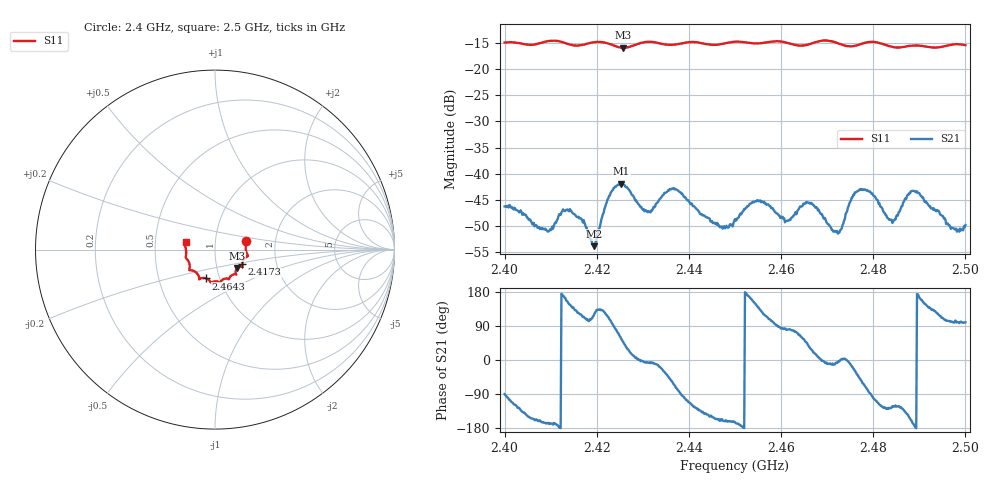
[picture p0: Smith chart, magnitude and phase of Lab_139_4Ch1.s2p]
# Hz S RI R 50
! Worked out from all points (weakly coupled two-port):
!   601 points, 2.4 GHz to 2.5 GHz, reference 50 ohm
!   highest |S21| = -41.89 dB at 2.4253 GHz (marker M1); lowest = -53.9 dB at 2.4193 GHz (marker M2)
!   lowest |S11| = -15.9 dB at 2.4257 GHz (marker M3), VSWR 1.38, Z = 62.5 - j13.2 ohm
!   |S11| at or under -10 dB: start of sweep to end of sweep
!   S12 and S22 are empty: the file has one direction only
!   S11 on the Smith chart (normalised r, x): 2.4 GHz: 1.41, +0.14; 2.4173 GHz: 1.34, -0.23; 2.4643 GHz: 0.86, -0.28; 2.5 GHz: 0.72, +0.06
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2.4e9  0.1729 0.0489  -2.43e-06 -0.00487  0 0  0 0
2.409167e9  0.1822 -0.0298  -0.0028 -0.000627  0 0  0 0
2.413167e9  0.1727 -0.0422  -0.00422 0.00124  0 0  0 0
2.416667e9  0.1527 -0.0744  -0.00179 0.00325  0 0  0 0
2.417333e9  0.1519 -0.0819  -0.00127 0.00316  0 0  0 0
2.419333e9  0.1532 -0.0963  -0.000919 0.00181  0 0  0 0
2.422833e9  0.1467 -0.0939  -0.00172 0.00593  0 0  0 0
2.425333e9  0.1258 -0.1  0.00458 0.00662  0 0  0 0
2.425667e9  0.1232 -0.1025  0.00521 0.0059  0 0  0 0
2.4305e9  0.1182 -0.138  0.00444 -0.000482  0 0  0 0
2.433333e9  0.1128 -0.1377  0.00528 -0.00131  0 0  0 0
2.436833e9  0.0878 -0.1474  0.00285 -0.00648  0 0  0 0
2.45e9  0.0288 -0.1811  -0.00355 -0.00102  0 0  0 0
2.454833e9  0.00326 -0.1764  -0.00441 0.00344  0 0  0 0
2.461333e9  -0.0277 -0.1764  0.000637 0.00351  0 0  0 0
2.464333e9  -0.0499 -0.1604  0.00232 0.00425  0 0  0 0
2.466667e9  -0.0758 -0.1593  0.00466 0.00233  0 0  0 0
2.472333e9  -0.089 -0.1534  0.00266 -0.000248  0 0  0 0
2.478167e9  -0.1368 -0.1151  0.00262 -0.00659  0 0  0 0
2.483333e9  -0.1407 -0.0897  -0.00219 -0.00299  0 0  0 0
2.488667e9  -0.1619 -0.0471  -0.00672 -0.00143  0 0  0 0
2.5e9  -0.1641 0.0429  -0.000533 0.00318  0 0  0 0
